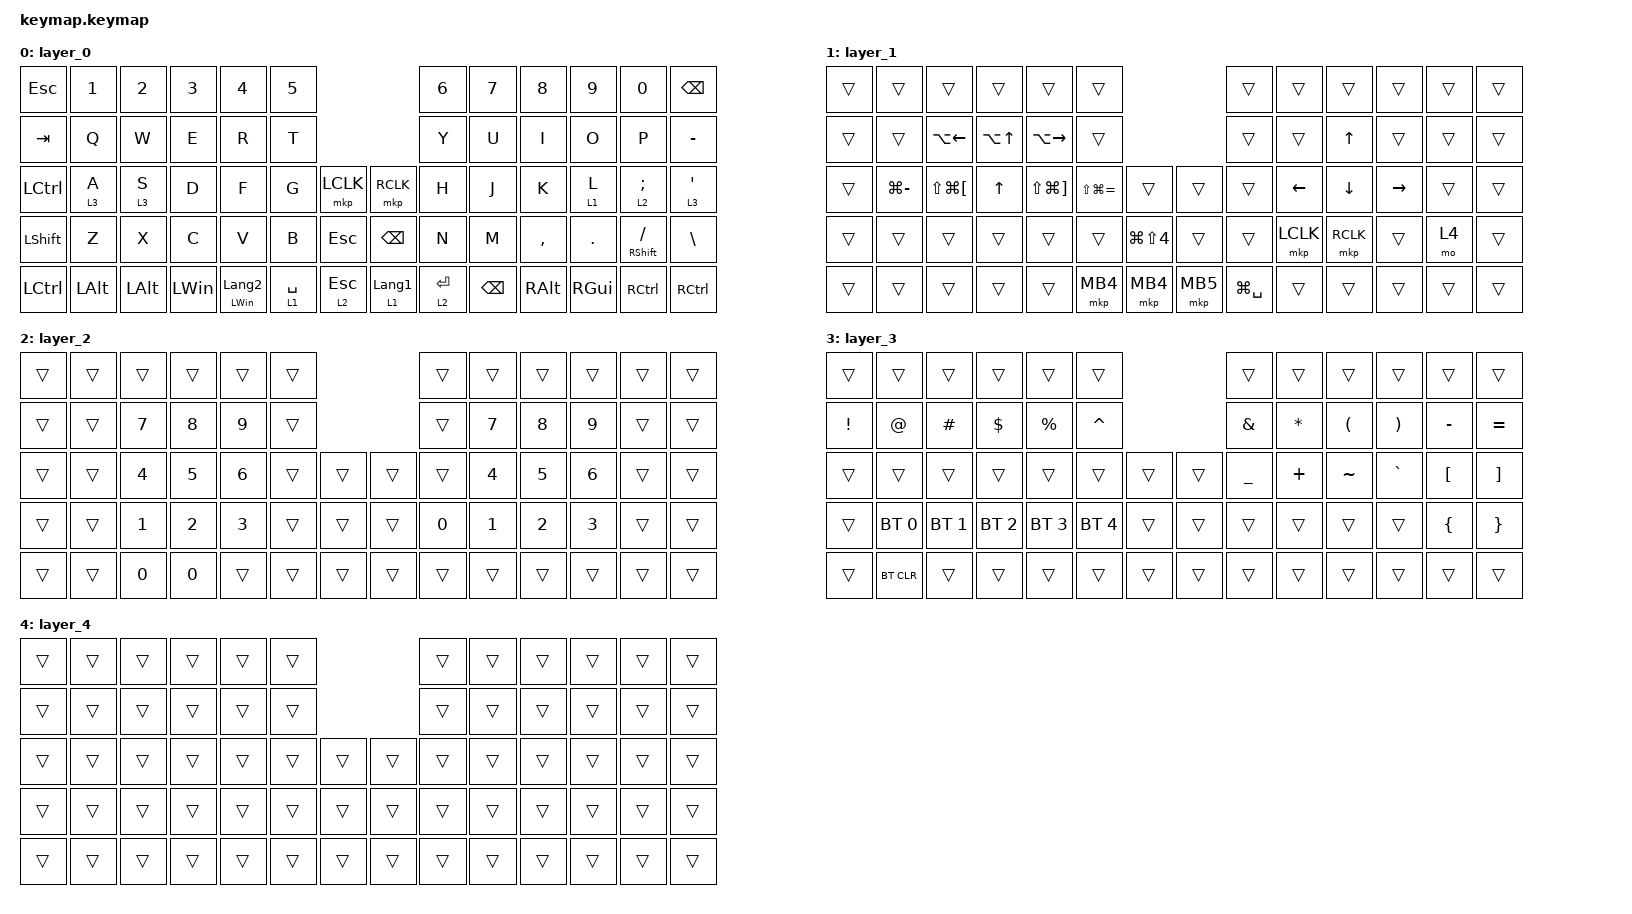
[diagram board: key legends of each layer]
#include <dt-bindings/zmk/input_transform.h>
#include <input/processors.dtsi>
#include <behaviors.dtsi>
#include <dt-bindings/zmk/bt.h>
#include <dt-bindings/zmk/keys.h>
#include <dt-bindings/zmk/pointing.h>

/ {
    combos {
        compatible = "zmk,combos";

        bt_clear {
            bindings = <&bt BT_CLR>;
            key-positions = <28 29>;
            layers = <2>;
        };
    };

    keymap {
        compatible = "zmk,keymap";

        layer_0 {
            bindings = <
&kp ESC    &kp N1        &kp N2        &kp N3        &kp N4                   &kp N5                                       &kp N6       &kp N7    &kp N8     &kp N9    &kp N0                &kp BSPC
&kp TAB    &kp Q         &kp W         &kp E         &kp R                    &kp T                                        &kp Y        &kp U     &kp I      &kp O     &kp P                 &kp MINUS
&kp LCTRL  &lt 3 A       &lt 3 S       &kp D         &kp F                    &kp G        &mkp LCLK     &mkp RCLK         &kp H        &kp J     &kp K      &lt 1 L   &lt 2 SEMICOLON       &lt 3 SQT
&kp LSHFT  &kp Z         &kp X         &kp C         &kp V                    &kp B        &kp ESCAPE    &kp BACKSPACE     &kp N        &kp M     &kp COMMA  &kp DOT   &mt RIGHT_SHIFT FSLH  &kp BACKSLASH
&kp LCTRL  &kp LEFT_ALT  &kp LEFT_ALT  &kp LEFT_WIN  &mt LEFT_WIN LANGUAGE_2  &lt 1 SPACE  &lt 2 ESCAPE  &lt 1 LANGUAGE_1  &lt 2 ENTER  &kp BSPC  &kp RALT   &kp RGUI  &kp RCTRL             &kp RCTRL
            >;
        };

        layer_1 {
            bindings = <
&trans  &trans         &trans                    &trans            &trans                     &trans                                             &trans         &trans          &trans        &trans     &trans  &trans
&trans  &trans         &kp LA(LEFT)              &kp LA(UP_ARROW)  &kp LA(RIGHT)              &trans                                             &trans         &trans          &kp UP_ARROW  &trans     &trans  &trans
&trans  &kp LG(MINUS)  &kp LS(LG(LEFT_BRACKET))  &kp UP_ARROW      &kp LS(LG(RIGHT_BRACKET))  &kp LS(LG(EQUAL))  &trans                &trans    &trans         &kp LEFT_ARROW  &kp DOWN      &kp RIGHT  &trans  &trans
&trans  &trans         &trans                    &trans            &trans                     &trans             &kp LG(LS(NUMBER_4))  &trans    &trans         &mkp LCLK       &mkp RCLK     &trans     &mo 4   &trans
&trans  &trans         &trans                    &trans            &trans                     &mkp MB4           &mkp MB4              &mkp MB5  &kp LG(SPACE)  &trans          &trans        &trans     &trans  &trans
            >;
        };

        layer_2 {
            bindings = <
&trans  &trans  &trans        &trans        &trans        &trans                  &trans  &trans        &trans        &trans        &trans  &trans
&trans  &trans  &kp N7        &kp N8        &kp N9        &trans                  &trans  &kp N7        &kp N8        &kp N9        &trans  &trans
&trans  &trans  &kp NUMBER_4  &kp N5        &kp NUMBER_6  &trans  &trans  &trans  &trans  &kp NUMBER_4  &kp N5        &kp NUMBER_6  &trans  &trans
&trans  &trans  &kp NUMBER_1  &kp NUMBER_2  &kp NUMBER_3  &trans  &trans  &trans  &kp N0  &kp NUMBER_1  &kp NUMBER_2  &kp NUMBER_3  &trans  &trans
&trans  &trans  &kp N0        &kp N0        &trans        &trans  &trans  &trans  &trans  &trans        &trans        &trans        &trans  &trans
            >;
        };

        layer_3 {
            bindings = <
&trans           &trans        &trans        &trans        &trans        &trans                        &trans          &trans        &trans                &trans                 &trans            &trans
&kp EXCLAMATION  &kp AT_SIGN   &kp HASH      &kp DOLLAR    &kp PERCENT   &kp CARET                     &kp AMPERSAND   &kp ASTERISK  &kp LEFT_PARENTHESIS  &kp RIGHT_PARENTHESIS  &kp MINUS         &kp EQUAL
&trans           &trans        &trans        &trans        &trans        &trans        &trans  &trans  &kp UNDERSCORE  &kp PLUS      &kp TILDE             &kp GRAVE              &kp LEFT_BRACKET  &kp RIGHT_BRACKET
&trans           &bt BT_SEL 0  &bt BT_SEL 1  &bt BT_SEL 2  &bt BT_SEL 3  &bt BT_SEL 4  &trans  &trans  &trans          &trans        &trans                &trans                 &kp LEFT_BRACE    &kp RIGHT_BRACE
&trans           &bt BT_CLR    &trans        &trans        &trans        &trans        &trans  &trans  &trans          &trans        &trans                &trans                 &trans            &trans
            >;
        };

        layer_4 {
            bindings = <
&trans  &trans  &trans  &trans  &trans  &trans                  &trans  &trans  &trans  &trans  &trans  &trans
&trans  &trans  &trans  &trans  &trans  &trans                  &trans  &trans  &trans  &trans  &trans  &trans
&trans  &trans  &trans  &trans  &trans  &trans  &trans  &trans  &trans  &trans  &trans  &trans  &trans  &trans
&trans  &trans  &trans  &trans  &trans  &trans  &trans  &trans  &trans  &trans  &trans  &trans  &trans  &trans
&trans  &trans  &trans  &trans  &trans  &trans  &trans  &trans  &trans  &trans  &trans  &trans  &trans  &trans
            >;
        };
    };
};

&pointing_listener {
    scroll_layer {
        layers = <4>;
        input-processors = <&zip_xy_to_scroll_mapper>, <&zip_scroll_scaler 1 12>;
    };
};
